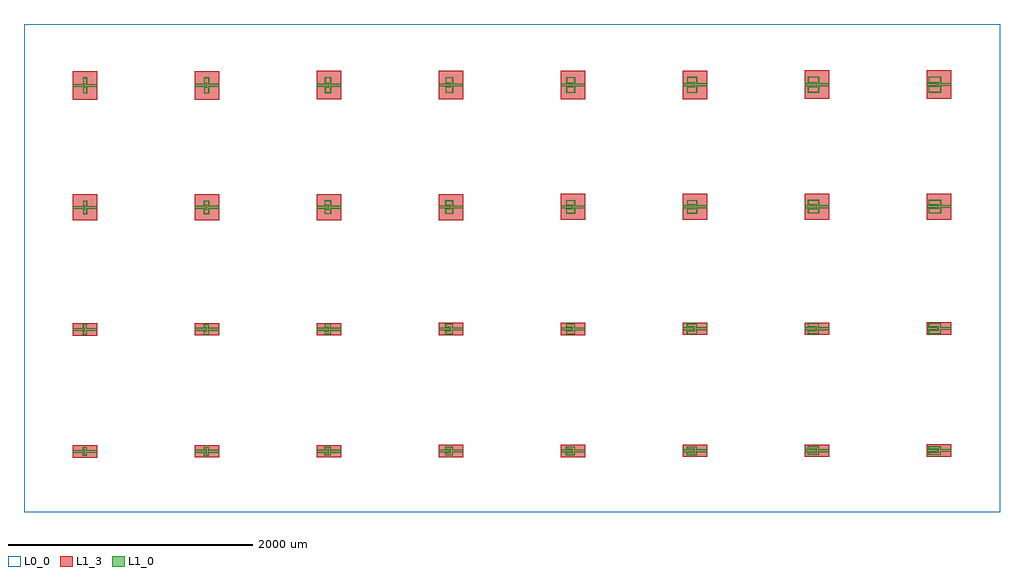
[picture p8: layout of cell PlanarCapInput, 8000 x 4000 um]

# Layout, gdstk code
import gdstk
lib = gdstk.Library(unit=1e-6, precision=1e-09)
def R(c, l, rs):  # rectangles x0, y0, x1, y1
    for r in rs: c.add(gdstk.rectangle(r[:2], r[2:], *l))
def P(c, l, *ps):  # polygons
    for p in ps: c.add(gdstk.Polygon(p, *l))
L0_0 = (0, 0)
L1_0 = (1, 0)
L1_3 = (1, 3)

coplanarcap_43 = lib.new_cell('CoplanarCap$43')
P(coplanarcap_43, L1_0, [(-100,-11),(-100,-5),(-14,-5),(-14,5),(-100,5),(-100,11),(-8,11),(-8,-11)],
  [(-16,-35),(-16,-13),(-6,-13),(-6,13),(-16,13),(-16,35),(16,35),(16,11),(100,11),(100,5),(10,5),(10,29),(-10,29),(-10,19),(0,19),(0,-19),(-10,-19),(-10,-29),(10,-29),(10,-5),(100,-5),(100,-11),(16,-11),(16,-35)])
R(coplanarcap_43, L1_3, [(-100,-50,100,50)])

coplanarcap_44 = lib.new_cell('CoplanarCap$44')
P(coplanarcap_44, L1_0, [(-100,-11),(-100,-5),(-14,-5),(-14,5),(-100,5),(-100,11),(-8,11),(-8,-11)],
  [(-26,-35),(-26,-13),(-6,-13),(-6,13),(-26,13),(-26,35),(16,35),(16,11),(100,11),(100,5),(10,5),(10,29),(-20,29),(-20,19),(0,19),(0,-19),(-20,-19),(-20,-29),(10,-29),(10,-5),(100,-5),(100,-11),(16,-11),(16,-35)])
R(coplanarcap_44, L1_3, [(-100,-50,100,50)])

coplanarcap_45 = lib.new_cell('CoplanarCap$45')
P(coplanarcap_45, L1_0, [(-100,-11),(-100,-5),(-14,-5),(-14,5),(-100,5),(-100,11),(-8,11),(-8,-11)],
  [(-36,-35),(-36,-13),(-6,-13),(-6,13),(-36,13),(-36,35),(16,35),(16,11),(100,11),(100,5),(10,5),(10,29),(-30,29),(-30,19),(0,19),(0,-19),(-30,-19),(-30,-29),(10,-29),(10,-5),(100,-5),(100,-11),(16,-11),(16,-35)])
R(coplanarcap_45, L1_3, [(-100,-50,100,50)])

coplanarcap_46 = lib.new_cell('CoplanarCap$46')
P(coplanarcap_46, L1_0, [(-100,-11),(-100,-5),(-14,-5),(-14,5),(-100,5),(-100,11),(-8,11),(-8,-11)],
  [(-46,-35),(-46,-13),(-6,-13),(-6,13),(-46,13),(-46,35),(16,35),(16,11),(100,11),(100,5),(10,5),(10,29),(-40,29),(-40,19),(0,19),(0,-19),(-40,-19),(-40,-29),(10,-29),(10,-5),(100,-5),(100,-11),(16,-11),(16,-35)])
R(coplanarcap_46, L1_3, [(-100,-50,100,50)])

coplanarcap_47 = lib.new_cell('CoplanarCap$47')
P(coplanarcap_47, L1_0, [(-100,-11),(-100,-5),(-14,-5),(-14,5),(-100,5),(-100,11),(-8,11),(-8,-11)],
  [(-56,-35),(-56,-13),(-6,-13),(-6,13),(-56,13),(-56,35),(16,35),(16,11),(100,11),(100,5),(10,5),(10,29),(-50,29),(-50,19),(0,19),(0,-19),(-50,-19),(-50,-29),(10,-29),(10,-5),(100,-5),(100,-11),(16,-11),(16,-35)])
R(coplanarcap_47, L1_3, [(-100,-50,100,50)])

coplanarcap_48 = lib.new_cell('CoplanarCap$48')
P(coplanarcap_48, L1_0, [(-100,-11),(-100,-5),(-14,-5),(-14,5),(-100,5),(-100,11),(-8,11),(-8,-11)],
  [(-66,-35),(-66,-13),(-6,-13),(-6,13),(-66,13),(-66,35),(16,35),(16,11),(100,11),(100,5),(10,5),(10,29),(-60,29),(-60,19),(0,19),(0,-19),(-60,-19),(-60,-29),(10,-29),(10,-5),(100,-5),(100,-11),(16,-11),(16,-35)])
R(coplanarcap_48, L1_3, [(-100,-50,100,50)])

coplanarcap_49 = lib.new_cell('CoplanarCap$49')
P(coplanarcap_49, L1_0, [(-100,-11),(-100,-5),(-14,-5),(-14,5),(-100,5),(-100,11),(-8,11),(-8,-11)],
  [(-76,-35),(-76,-13),(-6,-13),(-6,13),(-76,13),(-76,35),(16,35),(16,11),(100,11),(100,5),(10,5),(10,29),(-70,29),(-70,19),(0,19),(0,-19),(-70,-19),(-70,-29),(10,-29),(10,-5),(100,-5),(100,-11),(16,-11),(16,-35)])
R(coplanarcap_49, L1_3, [(-100,-50,100,50)])

coplanarcap_50 = lib.new_cell('CoplanarCap$50')
P(coplanarcap_50, L1_0, [(-100,-11),(-100,-5),(-14,-5),(-14,5),(-100,5),(-100,11),(-8,11),(-8,-11)],
  [(-86,-35),(-86,-13),(-6,-13),(-6,13),(-86,13),(-86,35),(16,35),(16,11),(100,11),(100,5),(10,5),(10,29),(-80,29),(-80,19),(0,19),(0,-19),(-80,-19),(-80,-29),(10,-29),(10,-5),(100,-5),(100,-11),(16,-11),(16,-35)])
R(coplanarcap_50, L1_3, [(-100,-50,100,50)])

coplanarcap_51 = lib.new_cell('CoplanarCap$51')
P(coplanarcap_51, L1_0, [(-100,-11),(-100,-5),(-14,-5),(-14,5),(-100,5),(-100,11),(-8,11),(-8,-11)],
  [(-16,-45),(-16,-13),(-6,-13),(-6,13),(-16,13),(-16,45),(16,45),(16,11),(100,11),(100,5),(10,5),(10,39),(-10,39),(-10,19),(0,19),(0,-19),(-10,-19),(-10,-39),(10,-39),(10,-5),(100,-5),(100,-11),(16,-11),(16,-45)])
R(coplanarcap_51, L1_3, [(-100,-50,100,50)])

coplanarcap_52 = lib.new_cell('CoplanarCap$52')
P(coplanarcap_52, L1_0, [(-100,-11),(-100,-5),(-14,-5),(-14,5),(-100,5),(-100,11),(-8,11),(-8,-11)],
  [(-26,-45),(-26,-13),(-6,-13),(-6,13),(-26,13),(-26,45),(16,45),(16,11),(100,11),(100,5),(10,5),(10,39),(-20,39),(-20,19),(0,19),(0,-19),(-20,-19),(-20,-39),(10,-39),(10,-5),(100,-5),(100,-11),(16,-11),(16,-45)])
R(coplanarcap_52, L1_3, [(-100,-50,100,50)])

coplanarcap_53 = lib.new_cell('CoplanarCap$53')
P(coplanarcap_53, L1_0, [(-100,-11),(-100,-5),(-14,-5),(-14,5),(-100,5),(-100,11),(-8,11),(-8,-11)],
  [(-36,-45),(-36,-13),(-6,-13),(-6,13),(-36,13),(-36,45),(16,45),(16,11),(100,11),(100,5),(10,5),(10,39),(-30,39),(-30,19),(0,19),(0,-19),(-30,-19),(-30,-39),(10,-39),(10,-5),(100,-5),(100,-11),(16,-11),(16,-45)])
R(coplanarcap_53, L1_3, [(-100,-50,100,50)])

coplanarcap_54 = lib.new_cell('CoplanarCap$54')
P(coplanarcap_54, L1_0, [(-100,-11),(-100,-5),(-14,-5),(-14,5),(-100,5),(-100,11),(-8,11),(-8,-11)],
  [(-46,-45),(-46,-13),(-6,-13),(-6,13),(-46,13),(-46,45),(16,45),(16,11),(100,11),(100,5),(10,5),(10,39),(-40,39),(-40,19),(0,19),(0,-19),(-40,-19),(-40,-39),(10,-39),(10,-5),(100,-5),(100,-11),(16,-11),(16,-45)])
R(coplanarcap_54, L1_3, [(-100,-50,100,50)])

coplanarcap_55 = lib.new_cell('CoplanarCap$55')
P(coplanarcap_55, L1_0, [(-100,-11),(-100,-5),(-14,-5),(-14,5),(-100,5),(-100,11),(-8,11),(-8,-11)],
  [(-56,-45),(-56,-13),(-6,-13),(-6,13),(-56,13),(-56,45),(16,45),(16,11),(100,11),(100,5),(10,5),(10,39),(-50,39),(-50,19),(0,19),(0,-19),(-50,-19),(-50,-39),(10,-39),(10,-5),(100,-5),(100,-11),(16,-11),(16,-45)])
R(coplanarcap_55, L1_3, [(-100,-50,100,50)])

coplanarcap_56 = lib.new_cell('CoplanarCap$56')
P(coplanarcap_56, L1_0, [(-100,-11),(-100,-5),(-14,-5),(-14,5),(-100,5),(-100,11),(-8,11),(-8,-11)],
  [(-66,-45),(-66,-13),(-6,-13),(-6,13),(-66,13),(-66,45),(16,45),(16,11),(100,11),(100,5),(10,5),(10,39),(-60,39),(-60,19),(0,19),(0,-19),(-60,-19),(-60,-39),(10,-39),(10,-5),(100,-5),(100,-11),(16,-11),(16,-45)])
R(coplanarcap_56, L1_3, [(-100,-50,100,50)])

coplanarcap_57 = lib.new_cell('CoplanarCap$57')
P(coplanarcap_57, L1_0, [(-100,-11),(-100,-5),(-14,-5),(-14,5),(-100,5),(-100,11),(-8,11),(-8,-11)],
  [(-76,-45),(-76,-13),(-6,-13),(-6,13),(-76,13),(-76,45),(16,45),(16,11),(100,11),(100,5),(10,5),(10,39),(-70,39),(-70,19),(0,19),(0,-19),(-70,-19),(-70,-39),(10,-39),(10,-5),(100,-5),(100,-11),(16,-11),(16,-45)])
R(coplanarcap_57, L1_3, [(-100,-50,100,50)])

coplanarcap_58 = lib.new_cell('CoplanarCap$58')
P(coplanarcap_58, L1_0, [(-100,-11),(-100,-5),(-14,-5),(-14,5),(-100,5),(-100,11),(-8,11),(-8,-11)],
  [(-86,-45),(-86,-13),(-6,-13),(-6,13),(-86,13),(-86,45),(16,45),(16,11),(100,11),(100,5),(10,5),(10,39),(-80,39),(-80,19),(0,19),(0,-19),(-80,-19),(-80,-39),(10,-39),(10,-5),(100,-5),(100,-11),(16,-11),(16,-45)])
R(coplanarcap_58, L1_3, [(-100,-50,100,50)])

coplanarcap_59 = lib.new_cell('CoplanarCap$59')
P(coplanarcap_59, L1_0, [(-100,-11),(-100,-5),(-14,-5),(-14,5),(-100,5),(-100,11),(-8,11),(-8,-11)],
  [(-16,-55),(-16,-13),(-6,-13),(-6,13),(-16,13),(-16,55),(16,55),(16,11),(100,11),(100,5),(10,5),(10,49),(-10,49),(-10,19),(0,19),(0,-19),(-10,-19),(-10,-49),(10,-49),(10,-5),(100,-5),(100,-11),(16,-11),(16,-55)])
R(coplanarcap_59, L1_3, [(-100,-107,100,107)])

coplanarcap_60 = lib.new_cell('CoplanarCap$60')
P(coplanarcap_60, L1_0, [(-100,-11),(-100,-5),(-14,-5),(-14,5),(-100,5),(-100,11),(-8,11),(-8,-11)],
  [(-26,-55),(-26,-13),(-6,-13),(-6,13),(-26,13),(-26,55),(16,55),(16,11),(100,11),(100,5),(10,5),(10,49),(-20,49),(-20,19),(0,19),(0,-19),(-20,-19),(-20,-49),(10,-49),(10,-5),(100,-5),(100,-11),(16,-11),(16,-55)])
R(coplanarcap_60, L1_3, [(-100,-107,100,107)])

coplanarcap_61 = lib.new_cell('CoplanarCap$61')
P(coplanarcap_61, L1_0, [(-100,-11),(-100,-5),(-14,-5),(-14,5),(-100,5),(-100,11),(-8,11),(-8,-11)],
  [(-36,-55),(-36,-13),(-6,-13),(-6,13),(-36,13),(-36,55),(16,55),(16,11),(100,11),(100,5),(10,5),(10,49),(-30,49),(-30,19),(0,19),(0,-19),(-30,-19),(-30,-49),(10,-49),(10,-5),(100,-5),(100,-11),(16,-11),(16,-55)])
R(coplanarcap_61, L1_3, [(-100,-107,100,107)])

coplanarcap_62 = lib.new_cell('CoplanarCap$62')
P(coplanarcap_62, L1_0, [(-100,-11),(-100,-5),(-14,-5),(-14,5),(-100,5),(-100,11),(-8,11),(-8,-11)],
  [(-46,-55),(-46,-13),(-6,-13),(-6,13),(-46,13),(-46,55),(16,55),(16,11),(100,11),(100,5),(10,5),(10,49),(-40,49),(-40,19),(0,19),(0,-19),(-40,-19),(-40,-49),(10,-49),(10,-5),(100,-5),(100,-11),(16,-11),(16,-55)])
R(coplanarcap_62, L1_3, [(-100,-107,100,107)])

coplanarcap_63 = lib.new_cell('CoplanarCap$63')
P(coplanarcap_63, L1_0, [(-100,-11),(-100,-5),(-14,-5),(-14,5),(-100,5),(-100,11),(-8,11),(-8,-11)],
  [(-56,-55),(-56,-13),(-6,-13),(-6,13),(-56,13),(-56,55),(16,55),(16,11),(100,11),(100,5),(10,5),(10,49),(-50,49),(-50,19),(0,19),(0,-19),(-50,-19),(-50,-49),(10,-49),(10,-5),(100,-5),(100,-11),(16,-11),(16,-55)])
R(coplanarcap_63, L1_3, [(-100,-107,100,107)])

coplanarcap_6 = lib.new_cell('CoplanarCap$6')
P(coplanarcap_6, L1_0, [(-100,-11),(-100,-5),(-14,-5),(-14,5),(-100,5),(-100,11),(-8,11),(-8,-11)],
  [(-66,-55),(-66,-13),(-6,-13),(-6,13),(-66,13),(-66,55),(16,55),(16,11),(100,11),(100,5),(10,5),(10,49),(-60,49),(-60,19),(0,19),(0,-19),(-60,-19),(-60,-49),(10,-49),(10,-5),(100,-5),(100,-11),(16,-11),(16,-55)])
R(coplanarcap_6, L1_3, [(-100,-107,100,107)])

coplanarcap_7 = lib.new_cell('CoplanarCap$7')
P(coplanarcap_7, L1_0, [(-100,-11),(-100,-5),(-14,-5),(-14,5),(-100,5),(-100,11),(-8,11),(-8,-11)],
  [(-76,-55),(-76,-13),(-6,-13),(-6,13),(-76,13),(-76,55),(16,55),(16,11),(100,11),(100,5),(10,5),(10,49),(-70,49),(-70,19),(0,19),(0,-19),(-70,-19),(-70,-49),(10,-49),(10,-5),(100,-5),(100,-11),(16,-11),(16,-55)])
R(coplanarcap_7, L1_3, [(-100,-107,100,107)])

coplanarcap_8 = lib.new_cell('CoplanarCap$8')
P(coplanarcap_8, L1_0, [(-100,-11),(-100,-5),(-14,-5),(-14,5),(-100,5),(-100,11),(-8,11),(-8,-11)],
  [(-86,-55),(-86,-13),(-6,-13),(-6,13),(-86,13),(-86,55),(16,55),(16,11),(100,11),(100,5),(10,5),(10,49),(-80,49),(-80,19),(0,19),(0,-19),(-80,-19),(-80,-49),(10,-49),(10,-5),(100,-5),(100,-11),(16,-11),(16,-55)])
R(coplanarcap_8, L1_3, [(-100,-107,100,107)])

coplanarcap_9 = lib.new_cell('CoplanarCap$9')
P(coplanarcap_9, L1_0, [(-100,-11),(-100,-5),(-14,-5),(-14,5),(-100,5),(-100,11),(-8,11),(-8,-11)],
  [(-16,-65),(-16,-13),(-6,-13),(-6,13),(-16,13),(-16,65),(16,65),(16,11),(100,11),(100,5),(10,5),(10,59),(-10,59),(-10,19),(0,19),(0,-19),(-10,-19),(-10,-59),(10,-59),(10,-5),(100,-5),(100,-11),(16,-11),(16,-65)])
R(coplanarcap_9, L1_3, [(-100,-117,100,117)])

coplanarcap_10 = lib.new_cell('CoplanarCap$10')
P(coplanarcap_10, L1_0, [(-100,-11),(-100,-5),(-14,-5),(-14,5),(-100,5),(-100,11),(-8,11),(-8,-11)],
  [(-26,-65),(-26,-13),(-6,-13),(-6,13),(-26,13),(-26,65),(16,65),(16,11),(100,11),(100,5),(10,5),(10,59),(-20,59),(-20,19),(0,19),(0,-19),(-20,-19),(-20,-59),(10,-59),(10,-5),(100,-5),(100,-11),(16,-11),(16,-65)])
R(coplanarcap_10, L1_3, [(-100,-117,100,117)])

coplanarcap_11 = lib.new_cell('CoplanarCap$11')
P(coplanarcap_11, L1_0, [(-100,-11),(-100,-5),(-14,-5),(-14,5),(-100,5),(-100,11),(-8,11),(-8,-11)],
  [(-36,-65),(-36,-13),(-6,-13),(-6,13),(-36,13),(-36,65),(16,65),(16,11),(100,11),(100,5),(10,5),(10,59),(-30,59),(-30,19),(0,19),(0,-19),(-30,-19),(-30,-59),(10,-59),(10,-5),(100,-5),(100,-11),(16,-11),(16,-65)])
R(coplanarcap_11, L1_3, [(-100,-117,100,117)])

coplanarcap_12 = lib.new_cell('CoplanarCap$12')
P(coplanarcap_12, L1_0, [(-100,-11),(-100,-5),(-14,-5),(-14,5),(-100,5),(-100,11),(-8,11),(-8,-11)],
  [(-46,-65),(-46,-13),(-6,-13),(-6,13),(-46,13),(-46,65),(16,65),(16,11),(100,11),(100,5),(10,5),(10,59),(-40,59),(-40,19),(0,19),(0,-19),(-40,-19),(-40,-59),(10,-59),(10,-5),(100,-5),(100,-11),(16,-11),(16,-65)])
R(coplanarcap_12, L1_3, [(-100,-117,100,117)])

coplanarcap_13 = lib.new_cell('CoplanarCap$13')
P(coplanarcap_13, L1_0, [(-100,-11),(-100,-5),(-14,-5),(-14,5),(-100,5),(-100,11),(-8,11),(-8,-11)],
  [(-56,-65),(-56,-13),(-6,-13),(-6,13),(-56,13),(-56,65),(16,65),(16,11),(100,11),(100,5),(10,5),(10,59),(-50,59),(-50,19),(0,19),(0,-19),(-50,-19),(-50,-59),(10,-59),(10,-5),(100,-5),(100,-11),(16,-11),(16,-65)])
R(coplanarcap_13, L1_3, [(-100,-117,100,117)])

coplanarcap_14 = lib.new_cell('CoplanarCap$14')
P(coplanarcap_14, L1_0, [(-100,-11),(-100,-5),(-14,-5),(-14,5),(-100,5),(-100,11),(-8,11),(-8,-11)],
  [(-66,-65),(-66,-13),(-6,-13),(-6,13),(-66,13),(-66,65),(16,65),(16,11),(100,11),(100,5),(10,5),(10,59),(-60,59),(-60,19),(0,19),(0,-19),(-60,-19),(-60,-59),(10,-59),(10,-5),(100,-5),(100,-11),(16,-11),(16,-65)])
R(coplanarcap_14, L1_3, [(-100,-117,100,117)])

coplanarcap_15 = lib.new_cell('CoplanarCap$15')
P(coplanarcap_15, L1_0, [(-100,-11),(-100,-5),(-14,-5),(-14,5),(-100,5),(-100,11),(-8,11),(-8,-11)],
  [(-76,-65),(-76,-13),(-6,-13),(-6,13),(-76,13),(-76,65),(16,65),(16,11),(100,11),(100,5),(10,5),(10,59),(-70,59),(-70,19),(0,19),(0,-19),(-70,-19),(-70,-59),(10,-59),(10,-5),(100,-5),(100,-11),(16,-11),(16,-65)])
R(coplanarcap_15, L1_3, [(-100,-117,100,117)])

coplanarcap_16 = lib.new_cell('CoplanarCap$16')
P(coplanarcap_16, L1_0, [(-100,-11),(-100,-5),(-14,-5),(-14,5),(-100,5),(-100,11),(-8,11),(-8,-11)],
  [(-86,-65),(-86,-13),(-6,-13),(-6,13),(-86,13),(-86,65),(16,65),(16,11),(100,11),(100,5),(10,5),(10,59),(-80,59),(-80,19),(0,19),(0,-19),(-80,-19),(-80,-59),(10,-59),(10,-5),(100,-5),(100,-11),(16,-11),(16,-65)])
R(coplanarcap_16, L1_3, [(-100,-117,100,117)])

planarcapinput = lib.new_cell('PlanarCapInput')
R(planarcapinput, L0_0, [(-4000,-2000,4000,2000)])
planarcapinput.add(gdstk.Reference(coplanarcap_43, (-3501.5,-1503.5)))
planarcapinput.add(gdstk.Reference(coplanarcap_44, (-2501.5,-1502.5)))
planarcapinput.add(gdstk.Reference(coplanarcap_45, (-1501.5,-1501.5)))
planarcapinput.add(gdstk.Reference(coplanarcap_46, (-501.5,-1500.5)))
planarcapinput.add(gdstk.Reference(coplanarcap_47, (498.5,-1499.5)))
planarcapinput.add(gdstk.Reference(coplanarcap_48, (1498.5,-1498.5)))
planarcapinput.add(gdstk.Reference(coplanarcap_49, (2498.5,-1497.5)))
planarcapinput.add(gdstk.Reference(coplanarcap_50, (3498.5,-1496.5)))
planarcapinput.add(gdstk.Reference(coplanarcap_51, (-3500.5,-503.5)))
planarcapinput.add(gdstk.Reference(coplanarcap_52, (-2500.5,-502.5)))
planarcapinput.add(gdstk.Reference(coplanarcap_53, (-1500.5,-501.5)))
planarcapinput.add(gdstk.Reference(coplanarcap_54, (-500.5,-500.5)))
planarcapinput.add(gdstk.Reference(coplanarcap_55, (499.5,-499.5)))
planarcapinput.add(gdstk.Reference(coplanarcap_56, (1499.5,-498.5)))
planarcapinput.add(gdstk.Reference(coplanarcap_57, (2499.5,-497.5)))
planarcapinput.add(gdstk.Reference(coplanarcap_58, (3499.5,-496.5)))
planarcapinput.add(gdstk.Reference(coplanarcap_59, (-3499.5,496.5)))
planarcapinput.add(gdstk.Reference(coplanarcap_60, (-2499.5,497.5)))
planarcapinput.add(gdstk.Reference(coplanarcap_61, (-1499.5,498.5)))
planarcapinput.add(gdstk.Reference(coplanarcap_62, (-499.5,499.5)))
planarcapinput.add(gdstk.Reference(coplanarcap_63, (500.5,500.5)))
planarcapinput.add(gdstk.Reference(coplanarcap_6, (1500.5,501.5)))
planarcapinput.add(gdstk.Reference(coplanarcap_7, (2500.5,502.5)))
planarcapinput.add(gdstk.Reference(coplanarcap_8, (3500.5,503.5)))
planarcapinput.add(gdstk.Reference(coplanarcap_9, (-3498.5,1496.5)))
planarcapinput.add(gdstk.Reference(coplanarcap_10, (-2498.5,1497.5)))
planarcapinput.add(gdstk.Reference(coplanarcap_11, (-1498.5,1498.5)))
planarcapinput.add(gdstk.Reference(coplanarcap_12, (-498.5,1499.5)))
planarcapinput.add(gdstk.Reference(coplanarcap_13, (501.5,1500.5)))
planarcapinput.add(gdstk.Reference(coplanarcap_14, (1501.5,1501.5)))
planarcapinput.add(gdstk.Reference(coplanarcap_15, (2501.5,1502.5)))
planarcapinput.add(gdstk.Reference(coplanarcap_16, (3501.5,1503.5)))

lib.write_gds('PlanarCapInput.gds')
